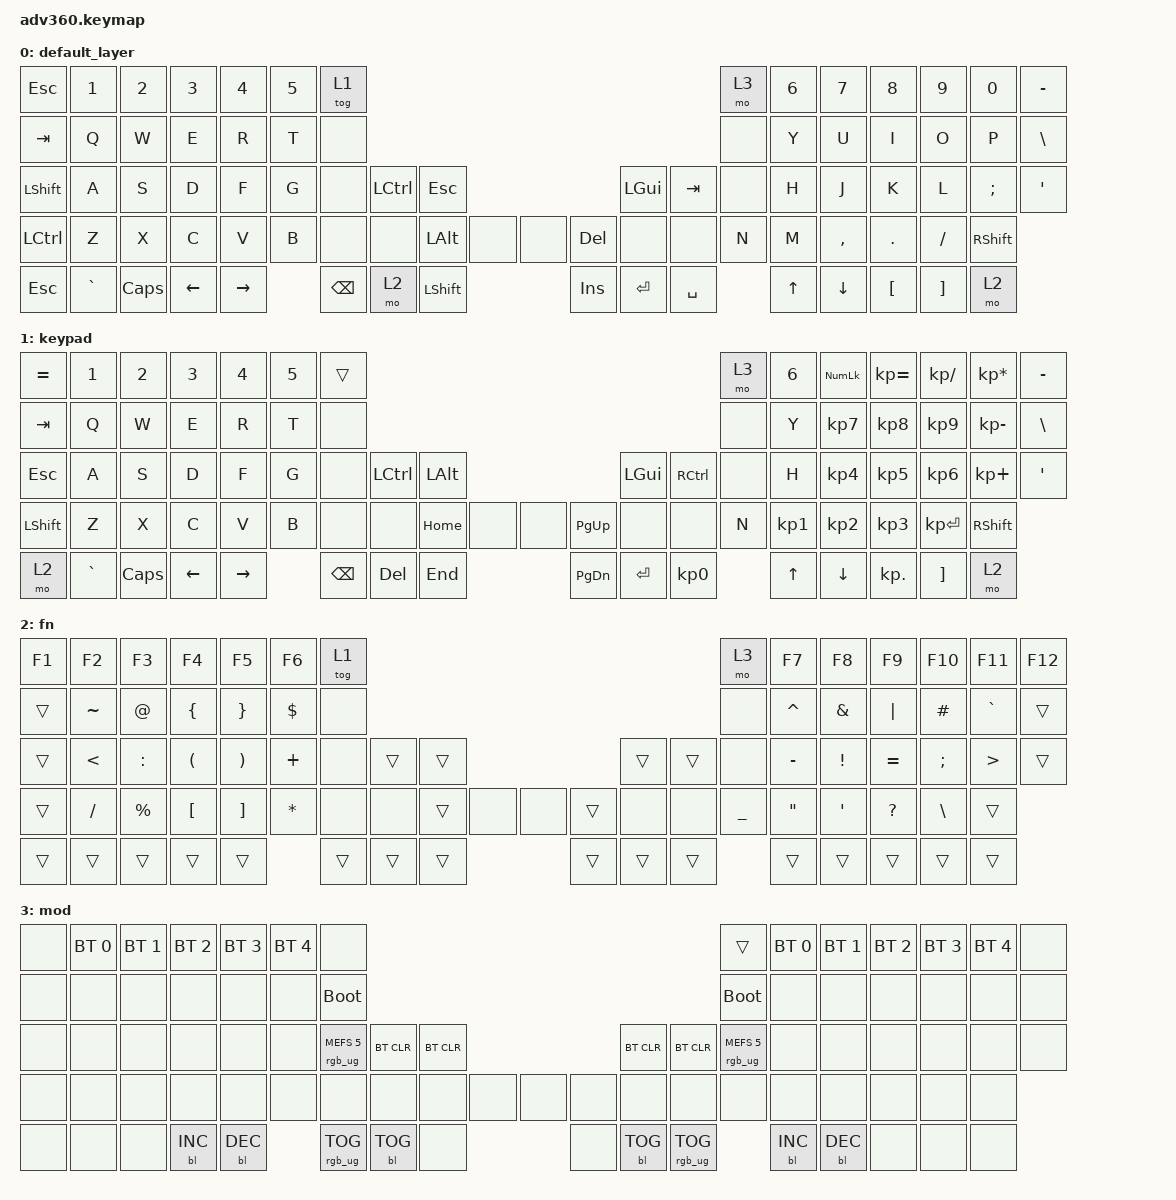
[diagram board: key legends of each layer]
#include <behaviors.dtsi>
#include <dt-bindings/zmk/keys.h>
#include <dt-bindings/zmk/bt.h>
#include <dt-bindings/zmk/rgb.h>
#include <dt-bindings/zmk/backlight.h>

/ {
    behaviors {
      #include "macros.dtsi"

      hm: homerow_mods {
          compatible = "zmk,behavior-hold-tap";
          label = "HOMEROW_MODS";
          #binding-cells = <2>;
          tapping-term-ms = <200>;
          quick_tap_ms = <175>;
          flavor = "tap-preferred";
          bindings = <&kp>, <&kp>;
      };
    };

  keymap {
    compatible = "zmk,keymap";

    default_layer {
      bindings = <
        &kp ESC   &kp N1    &kp N2   &kp N3   &kp N4     &kp N5 &tog 1                                                                       &mo 3 &kp N6 &kp N7 &kp N8    &kp N9   &kp N0   &kp MINUS
        &kp TAB   &kp Q     &kp W    &kp E    &kp R      &kp T  &none                                                                        &none &kp Y  &kp U  &kp I     &kp O    &kp P    &kp BSLH
        &kp LSHFT &kp A     &kp S    &kp D    &kp F      &kp G  &none           &kp LCTRL &kp ESC               &kp LGUI &kp TAB             &none &kp H  &kp J  &kp K     &kp L    &kp SEMI &kp SQT
        &kp LCTRL &kp Z     &kp X    &kp C    &kp V      &kp B         &none    &none     &kp LALT  &none &none &kp DEL  &none     &none           &kp N  &kp M  &kp COMMA &kp DOT  &kp FSLH &kp RSHFT
        &kp ESC   &kp GRAVE &kp CAPS &kp LEFT &kp RIGHT                &kp BSPC &mo 2     &kp LSHFT             &kp INS  &kp ENTER &kp SPACE              &kp UP &kp DOWN  &kp LBKT &kp RBKT &mo 2
      >;
    };
    keypad {
      bindings = <
        &kp EQUAL &kp N1    &kp N2   &kp N3   &kp N4     &kp N5 &trans                                                                       &mo 3 &kp N6 &kp KP_NUM &kp KP_EQUAL &kp KP_DIVIDE &kp KP_MULTIPLY &kp MINUS
        &kp TAB   &kp Q     &kp W    &kp E    &kp R      &kp T  &none                                                                        &none &kp Y  &kp KP_N7  &kp KP_N8    &kp KP_N9     &kp KP_MINUS    &kp BSLH
        &kp ESC   &kp A     &kp S    &kp D    &kp F      &kp G  &none           &kp LCTRL &kp LALT             &kp LGUI  &kp RCTRL           &none &kp H  &kp KP_N4  &kp KP_N5    &kp KP_N6     &kp KP_PLUS     &kp SQT
        &kp LSHFT &kp Z     &kp X    &kp C    &kp V      &kp B         &none    &none     &kp HOME &none &none &kp PG_UP &none     &none           &kp N  &kp KP_N1  &kp KP_N2    &kp KP_N3     &kp KP_ENTER    &kp RSHFT
        &mo 2     &kp GRAVE &kp CAPS &kp LEFT &kp RIGHT                &kp BSPC &kp DEL   &kp END              &kp PG_DN &kp ENTER &kp KP_N0              &kp UP     &kp DOWN     &kp KP_DOT    &kp RBKT        &mo 2
      >;
    };
    fn {
      bindings = <
        &kp F1 &kp F2    &kp F3      &kp F4   &kp F5   &kp F6     &tog 1                                                       &mo 3 &kp F7    &kp F8    &kp F9    &kp F10   &kp F11   &kp F12
        &trans &kp TILDE &kp AT      &kp LBRC &kp RBRC &kp DOLLAR &none                                                        &none &kp CARET &kp AMPS  &kp PIPE  &kp HASH  &kp GRAVE &trans
        &trans &kp LT    &kp COLON   &kp LPAR &kp RPAR &kp PLUS   &none         &trans &trans             &trans &trans        &none &kp MINUS &kp EXCL  &kp EQUAL &kp SEMI  &kp GT    &trans
        &trans &kp FSLH  &kp PERCENT &kp LBKT &kp RBKT &kp STAR          &none  &none  &trans &none &none &trans &none  &none        &kp UNDER &kp DQT   &kp SQT   &kp QMARK &kp BSLH  &trans
        &trans &trans    &trans      &trans   &trans                     &trans &trans &trans             &trans &trans &trans                 &trans    &trans    &trans    &trans    &trans
      >;
    };
    mod {
      bindings = <
        &none &bt BT_SEL 0 &bt BT_SEL 1 &bt BT_SEL 2 &bt BT_SEL 3 &bt BT_SEL 4 &none                                                                                                          &trans                 &bt BT_SEL 0 &bt BT_SEL 1 &bt BT_SEL 2 &bt BT_SEL 3 &bt BT_SEL 4 &none
        &none &none        &none        &none        &none        &none        &bootloader                                                                                                    &bootloader            &none        &none        &none        &none        &none        &none
        &none &none        &none        &none        &none        &none        &rgb_ug RGB_MEFS_CMD 5                 &bt BT_CLR &bt BT_CLR             &bt BT_CLR &bt BT_CLR                 &rgb_ug RGB_MEFS_CMD 5 &none        &none        &none        &none        &none        &none
        &none &none        &none        &none        &none        &none                               &none           &none      &none      &none &none &none      &none      &none                                  &none        &none        &none        &none        &none        &none
        &none &none        &none        &bl BL_INC   &bl BL_DEC                                       &rgb_ug RGB_TOG &bl BL_TOG &none                  &none      &bl BL_TOG &rgb_ug RGB_TOG                                     &bl BL_INC   &bl BL_DEC   &none        &none        &none
      >;
    };
  };
};
